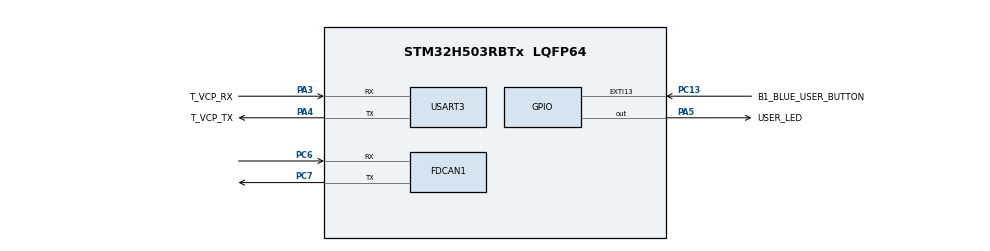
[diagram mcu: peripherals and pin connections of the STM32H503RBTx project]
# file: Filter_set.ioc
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BOOTPATH.BootPathName=LEGACY
BOOTPATH.UserSelectedBootPath=LEGACY
FDCAN1.CalculateBaudRateNominal=500000
FDCAN1.CalculateTimeBitNominal=2000
FDCAN1.CalculateTimeQuantumNominal=125.0
FDCAN1.NominalPrescaler=25
FDCAN1.NominalTimeSeg1=13
FDCAN1.NominalTimeSeg2=2
Mcu.Family=STM32H5
Mcu.Name=STM32H503RBTx
Mcu.Package=LQFP64
NVIC.EXTI13_IRQn=true\:0\:0\:false\:false\:true\:true\:true\:true
NVIC.FDCAN1_IT0_IRQn=true\:0\:0\:false\:false\:true\:true\:true\:true
NVIC.PriorityGroup=NVIC_PRIORITYGROUP_4
NVIC.USART3_IRQn=true\:0\:0\:false\:false\:true\:true\:true\:true
PA3.GPIO_Label=T_VCP_RX
PA3.Mode=Asynchronous
PA3.Signal=USART3_RX
PA4.GPIO_Label=T_VCP_TX
PA4.Mode=Asynchronous
PA4.Signal=USART3_TX
PA5.GPIO_Label=USER_LED
PA5.Signal=GPIO_Output
PC13.GPIO_Label=B1_BLUE_USER_BUTTON
PC13.Signal=GPXTI13
PC6.Mode=FDCAN_Activate
PC6.Signal=FDCAN1_RX
PC7.Mode=FDCAN_Activate
PC7.Signal=FDCAN1_TX
PH0-OSC_IN(PH0).Mode=HSE-External-Oscillator
PH0-OSC_IN(PH0).Signal=RCC_OSC_IN
PH1-OSC_OUT(PH1).Mode=HSE-External-Oscillator
PH1-OSC_OUT(PH1).Signal=RCC_OSC_OUT
ProjectManager.HeapSize=0x200
ProjectManager.StackSize=0x400
ProjectManager.TargetToolchain=STM32CubeIDE
RCC.ADCFreq_Value=200000000
RCC.AHBFreq_Value=200000000
RCC.APB1Freq_Value=200000000
RCC.APB1TimFreq_Value=200000000
RCC.APB2Freq_Value=200000000
RCC.APB2TimFreq_Value=200000000
RCC.APB3Freq_Value=200000000
RCC.CSI_VALUE=4000000
RCC.CortexFreq_Value=200000000
RCC.EPOD_VALUE=24000000
RCC.FDCANClockSelection=RCC_FDCANCLKSOURCE_PLL1Q
RCC.HCLKFreq_Value=200000000
RCC.HSE_VALUE=24000000
RCC.HSI48_VALUE=48000000
RCC.HSIDiv=RCC_HSI_DIV1
RCC.HSI_VALUE=64000000
RCC.LSE_VALUE=32768
RCC.LSIRC_VALUE=32000
RCC.PLLFRACN=0
RCC.PLLM=3
RCC.PLLN=50
RCC.PLLSourceVirtual=RCC_PLL1_SOURCE_HSE
RCC.SYSCLKFreq_VALUE=200000000
RCC.SYSCLKSource=RCC_SYSCLKSOURCE_PLLCLK
RCC.USBFreq_Value=48000000
RCC.VCOOutputFreq_Value=400000000
USART3.VirtualMode-Asynchronous=VM_ASYNC
VP_BOOTPATH_VS_BOOTPATH.Mode=BP_Activate
VP_CORTEX_M33_NS_VS_Hclk.Mode=Hclk_Mode
VP_MEMORYMAP_VS_MEMORYMAP.Mode=CurAppReg
VP_PWR_VS_DBSignals.Mode=DisableDeadBatterySignals
VP_PWR_VS_LPOM.Mode=PowerOptimisation
VP_PWR_VS_SECSignals.Mode=Security/Privilege
board=NUCLEO-H503RB

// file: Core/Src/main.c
#include "main.h"
#include <stdio.h>

/* USER CODE BEGIN PTD */
typedef struct{
	FDCAN_TxHeaderTypeDef   TxHeader;
	FDCAN_RxHeaderTypeDef   RxHeader;
	uint32_t msgID;
	uint8_t dataTx[8];
	uint8_t dataRx[8];
} CAN_SET;

CAN_SET CAN_Payload;
/* USER CODE END PTD */

FDCAN_HandleTypeDef hfdcan1;
UART_HandleTypeDef huart3;

static void MX_FDCAN1_Init(void);
/* USER CODE BEGIN PFP */
void TX_Send_CAN();
/* USER CODE END PFP */

/* USER CODE BEGIN 0 */
volatile uint8_t counter = 0;
uint16_t ID[10] = {0x7E0,0x7E1,0x7E2,0x7E3,0x7E4,0x7E5,0x7E6,0x7E7,0x7E8,0x7F9};

/* USER CODE END 0 */

int main(void)
{

  /* MCU Configuration--------------------------------------------------------*/

  /* Reset of all peripherals, Initializes the Flash interface and the Systick. */
  HAL_Init();

  /* Configure the system clock */
  SystemClock_Config();

  /* Initialize all configured peripherals */
  MX_GPIO_Init();
  MX_FDCAN1_Init();
  MX_USART3_UART_Init();
  /* USER CODE BEGIN 2 */
  for(uint8_t i = 0; i < 8 ;i++){
	  CAN_Payload.dataTx[i] = i;
  }
  /* USER CODE END 2 */

  /* Infinite loop */
  while (1)
  {

    /* USER CODE BEGIN 3 */
	 // HAL_Delay(10);
	  for (uint8_t i = 0; i < 10 ;i++){
		  CAN_Payload.msgID = ID[i];
		  TX_Send_CAN();
		  HAL_Delay(5);
	  }
  }
  /* USER CODE END 3 */
}

static void MX_FDCAN1_Init(void)
{

  hfdcan1.Instance = FDCAN1;
  hfdcan1.Init.ClockDivider = FDCAN_CLOCK_DIV1;
  hfdcan1.Init.FrameFormat = FDCAN_FRAME_CLASSIC;
  hfdcan1.Init.Mode = FDCAN_MODE_NORMAL;
  hfdcan1.Init.AutoRetransmission = DISABLE;
  hfdcan1.Init.TransmitPause = DISABLE;
  hfdcan1.Init.ProtocolException = DISABLE;
  hfdcan1.Init.NominalPrescaler = 25;
  hfdcan1.Init.NominalSyncJumpWidth = 1;
  hfdcan1.Init.NominalTimeSeg1 = 13;
  hfdcan1.Init.NominalTimeSeg2 = 2;
  hfdcan1.Init.DataPrescaler = 1;
  hfdcan1.Init.DataSyncJumpWidth = 1;
  hfdcan1.Init.DataTimeSeg1 = 1;
  hfdcan1.Init.DataTimeSeg2 = 1;
  hfdcan1.Init.StdFiltersNbr = 1;
  hfdcan1.Init.ExtFiltersNbr = 0;
  hfdcan1.Init.TxFifoQueueMode = FDCAN_TX_FIFO_OPERATION;
  if (HAL_FDCAN_Init(&hfdcan1) != HAL_OK)
  {
    Error_Handler();
  }

  /* USER CODE BEGIN FDCAN1_Init 2 */
  if (HAL_FDCAN_Start(&hfdcan1) != HAL_OK) {
   	 /* Notification Error */
   	Error_Handler();
  }
  if (HAL_FDCAN_ActivateNotification(&hfdcan1, FDCAN_IT_RX_FIFO0_NEW_MESSAGE, 0) != HAL_OK)
  {
	  /* Notification Error */
 	Error_Handler();
  }
  /* USER CODE END FDCAN1_Init 2 */
}

/* USER CODE BEGIN 4 */

void HAL_GPIO_EXTI_Falling_Callback(uint16_t GPIO_Pin){

	if(GPIO_Pin == B1_BLUE_USER_BUTTON_Pin){
//			if (counter == 1){
//				 SetFilter(0x10F,0x7FF);
//			}else{
//				 SetFilter(0x105,0x7FF);
//
//			}
//			counter ^= 1;
		}
}

void TX_Send_CAN(){
	 while ((hfdcan1.Instance->TXFQS & FDCAN_TXFQS_TFQF) != 0) {
	    }

    /* ----- Prepare CAN data --------------------------------------- */
    CAN_Payload.TxHeader.IdType = FDCAN_STANDARD_ID;
    CAN_Payload.TxHeader.Identifier = CAN_Payload.msgID; //CAN_Payload.msgID
    CAN_Payload.TxHeader.TxFrameType = FDCAN_DATA_FRAME;
    CAN_Payload.TxHeader.DataLength = FDCAN_DLC_BYTES_8;        // 8-byte payloaD
    CAN_Payload.TxHeader.ErrorStateIndicator = FDCAN_ESI_ACTIVE;
    CAN_Payload.TxHeader.BitRateSwitch = FDCAN_BRS_OFF;         // Disable BRS
    CAN_Payload.TxHeader.FDFormat = FDCAN_CLASSIC_CAN;          // Use Classical CAN frame
    CAN_Payload.TxHeader.TxEventFifoControl = FDCAN_NO_TX_EVENTS;
    CAN_Payload.TxHeader.MessageMarker = 0;

    CAN_Payload.dataTx[0] ^= 1;

    if (HAL_FDCAN_AddMessageToTxFifoQ(&hfdcan1, &CAN_Payload.TxHeader,CAN_Payload.dataTx)!= HAL_OK)
    {
    	//Error_Handler();
    }
}

int __io_putchar(int ch)
{
    HAL_UART_Transmit(&huart3, (uint8_t*)&ch, 1,1000);
    return ch;
}
/* USER CODE END 4 */

void Error_Handler(void)
{
  __disable_irq();
  while (1)
  {
  }
}
